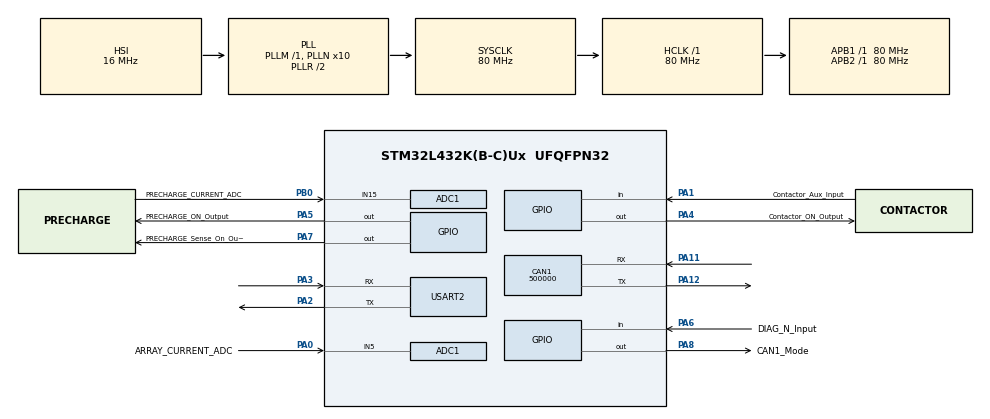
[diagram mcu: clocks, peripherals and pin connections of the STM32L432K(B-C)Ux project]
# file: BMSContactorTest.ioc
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ADC1.Channel-0\#ChannelRegularConversion=ADC_CHANNEL_5
ADC1.Channel-1\#ChannelRegularConversion=ADC_CHANNEL_15
ADC1.ContinuousConvMode=DISABLE
ADC1.DMAContinuousRequests=ENABLE
ADC1.EOCSelection=ADC_EOC_SEQ_CONV
ADC1.NbrOfConversion=2
ADC1.NbrOfConversionFlag=1
ADC1.OffsetNumber-0\#ChannelRegularConversion=ADC_OFFSET_NONE
ADC1.OffsetNumber-1\#ChannelRegularConversion=ADC_OFFSET_NONE
ADC1.Overrun=ADC_OVR_DATA_OVERWRITTEN
ADC1.Rank-0\#ChannelRegularConversion=1
ADC1.Rank-1\#ChannelRegularConversion=2
ADC1.SamplingTime-0\#ChannelRegularConversion=ADC_SAMPLETIME_2CYCLES_5
ADC1.SamplingTime-1\#ChannelRegularConversion=ADC_SAMPLETIME_2CYCLES_5
ADC1.master=1
CAN1.BS1=CAN_BS1_5TQ
CAN1.BS2=CAN_BS2_4TQ
CAN1.CalculateBaudRate=500000
CAN1.CalculateTimeBit=2000
CAN1.CalculateTimeQuantum=200.0
Dma.ADC1.0.Direction=DMA_PERIPH_TO_MEMORY
Dma.ADC1.0.Instance=DMA1_Channel1
Dma.ADC1.0.MemDataAlignment=DMA_MDATAALIGN_HALFWORD
Dma.ADC1.0.MemInc=DMA_MINC_ENABLE
Dma.ADC1.0.Mode=DMA_NORMAL
Dma.ADC1.0.PeriphDataAlignment=DMA_PDATAALIGN_HALFWORD
Dma.ADC1.0.PeriphInc=DMA_PINC_DISABLE
Dma.ADC1.0.Priority=DMA_PRIORITY_LOW
Dma.Request0=ADC1
Mcu.Family=STM32L4
Mcu.Name=STM32L432K(B-C)Ux
Mcu.Package=UFQFPN32
NVIC.PriorityGroup=NVIC_PRIORITYGROUP_4
NVIC.TIM1_UP_TIM16_IRQn=true\:5\:0\:true\:false\:true\:true\:true\:true
PA0.GPIO_Label=ARRAY_CURRENT_ADC
PA0.Signal=ADCx_IN5
PA1.GPIO_Label=Contactor_Aux_Input
PA1.Signal=GPIO_Input
PA11.Mode=CAN_Activate
PA11.Signal=CAN1_RX
PA12.Mode=CAN_Activate
PA12.Signal=CAN1_TX
PA2.Mode=Asynchronous
PA2.Signal=USART2_TX
PA3.Mode=Asynchronous
PA3.Signal=USART2_RX
PA4.GPIO_Label=Contactor_ON_Output
PA4.PinState=GPIO_PIN_RESET
PA4.Signal=GPIO_Output
PA5.GPIO_Label=PRECHARGE_ON_Output
PA5.PinState=GPIO_PIN_RESET
PA5.Signal=GPIO_Output
PA6.GPIO_Label=DIAG_N_Input
PA6.GPIO_PuPd=GPIO_PULLUP
PA6.Signal=GPIO_Input
PA7.GPIO_Label=PRECHARGE_Sense_On_Output
PA7.PinState=GPIO_PIN_RESET
PA7.Signal=GPIO_Output
PA8.GPIO_Label=CAN1_Mode
PA8.Signal=GPIO_Output
PB0.GPIO_Label=PRECHARGE_CURRENT_ADC
PB0.Signal=ADCx_IN15
ProjectManager.HeapSize=0x200
ProjectManager.StackSize=0x400
ProjectManager.TargetToolchain=STM32CubeIDE
RCC.ADCFreq_Value=64000000
RCC.AHBFreq_Value=80000000
RCC.APB1Freq_Value=80000000
RCC.APB1TimFreq_Value=80000000
RCC.APB2Freq_Value=80000000
RCC.APB2TimFreq_Value=80000000
RCC.CortexFreq_Value=80000000
RCC.HCLKFreq_Value=80000000
RCC.HSE_VALUE=8000000
RCC.HSI48_VALUE=48000000
RCC.HSI_VALUE=16000000
RCC.LSE_VALUE=32768
RCC.MSI_VALUE=4000000
RCC.PLLN=10
RCC.PLLSourceVirtual=RCC_PLLSOURCE_HSI
RCC.SYSCLKFreq_VALUE=80000000
RCC.SYSCLKSource=RCC_SYSCLKSOURCE_PLLCLK
RCC.USBFreq_Value=64000000
RCC.VCOOutputFreq_Value=160000000
SH.ADCx_IN15.0=ADC1_IN15,IN15-Single-Ended
SH.ADCx_IN5.0=ADC1_IN5,IN5-Single-Ended
TIM16.Period=199
TIM16.Prescaler=39999
TIM2.Period=4294967295
TIM2.Prescaler=79
USART2.VirtualMode-Asynchronous=VM_ASYNC
VP_TIM16_VS_ClockSourceINT.Mode=Enable_Timer
VP_TIM2_VS_ClockSourceINT.Mode=Internal
board=custom

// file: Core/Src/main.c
/* USER CODE BEGIN Header */
/**
  ******************************************************************************
  * @file           : main.c
  * @brief          : Main program body
  ******************************************************************************
  * @attention
  *
  * Copyright (c) 2025 STMicroelectronics.
  * All rights reserved.
  *
  * This software is licensed under terms that can be found in the LICENSE file
  * in the root directory of this software component.
  * If no LICENSE file comes with this software, it is provided AS-IS.
  *
  ******************************************************************************
  */
/* USER CODE END Header */
#include "main.h"

/* USER CODE BEGIN Includes */
#include "boardDefines.h"
#include "CAN.h"
#include "CONTACTOR.h"
#include "TIMER.h"
#include "ADC.h"
#include "stm32l4xx_ll_gpio.h"  // Include the LL GPIO header

/* USER CODE END Includes */

ADC_HandleTypeDef hadc1;
DMA_HandleTypeDef hdma_adc1;

CAN_HandleTypeDef hcan1;

TIM_HandleTypeDef htim2;
TIM_HandleTypeDef htim16;

UART_HandleTypeDef huart2;

void SystemClock_Config(void);
static void MX_GPIO_Init(void);
static void MX_DMA_Init(void);
static void MX_CAN1_Init(void);
static void MX_USART2_UART_Init(void);
static void MX_TIM16_Init(void);
static void MX_ADC1_Init(void);
static void MX_TIM2_Init(void);
/* USER CODE BEGIN PFP */
static void initBoardIds(void);
/* USER CODE END PFP */

/* USER CODE BEGIN 0 */
extern volatile Contactor_t contactor;
extern volatile Precharger_t precharger;

BoardIds boardIds = {.type = NONE, .canIdOffset = 0xFF, .extendedId = true};

/* USER CODE END 0 */

int main(void)
{

  /* MCU Configuration--------------------------------------------------------*/

  /* Reset of all peripherals, Initializes the Flash interface and the Systick. */
  HAL_Init();

  /* Configure the system clock */
  SystemClock_Config();

  /* Initialize all configured peripherals */
  MX_GPIO_Init();
  MX_DMA_Init();
  MX_CAN1_Init();
  MX_USART2_UART_Init();
  MX_TIM16_Init();
  MX_ADC1_Init();
  MX_TIM2_Init();
  /* USER CODE BEGIN 2 */

  AdcUserInit();
  initBoardIds();
  initContactor();

  checkState();
  HAL_Delay(2000);

  HAL_TIM_Base_Start_IT(&htim16);

  /* USER CODE END 2 */

  /* Infinite loop */
  while (1)
  {

    /* USER CODE BEGIN 3 */

    /* ADC task */
    AdcTask();

    Check_CAN_Messages();

    ContactorTask();
  }
  /* USER CODE END 3 */
}

void SystemClock_Config(void)
{
  RCC_OscInitTypeDef RCC_OscInitStruct = {0};
  RCC_ClkInitTypeDef RCC_ClkInitStruct = {0};

  /** Configure the main internal regulator output voltage
  */
  if (HAL_PWREx_ControlVoltageScaling(PWR_REGULATOR_VOLTAGE_SCALE1) != HAL_OK)
  {
    Error_Handler();
  }

  /** Initializes the RCC Oscillators according to the specified parameters
  * in the RCC_OscInitTypeDef structure.
  */
  RCC_OscInitStruct.OscillatorType = RCC_OSCILLATORTYPE_HSI;
  RCC_OscInitStruct.HSIState = RCC_HSI_ON;
  RCC_OscInitStruct.HSICalibrationValue = RCC_HSICALIBRATION_DEFAULT;
  RCC_OscInitStruct.PLL.PLLState = RCC_PLL_ON;
  RCC_OscInitStruct.PLL.PLLSource = RCC_PLLSOURCE_HSI;
  RCC_OscInitStruct.PLL.PLLM = 1;
  RCC_OscInitStruct.PLL.PLLN = 10;
  RCC_OscInitStruct.PLL.PLLP = RCC_PLLP_DIV7;
  RCC_OscInitStruct.PLL.PLLQ = RCC_PLLQ_DIV2;
  RCC_OscInitStruct.PLL.PLLR = RCC_PLLR_DIV2;
  if (HAL_RCC_OscConfig(&RCC_OscInitStruct) != HAL_OK)
  {
    Error_Handler();
  }

  /** Initializes the CPU, AHB and APB buses clocks
  */
  RCC_ClkInitStruct.ClockType = RCC_CLOCKTYPE_HCLK|RCC_CLOCKTYPE_SYSCLK
                              |RCC_CLOCKTYPE_PCLK1|RCC_CLOCKTYPE_PCLK2;
  RCC_ClkInitStruct.SYSCLKSource = RCC_SYSCLKSOURCE_PLLCLK;
  RCC_ClkInitStruct.AHBCLKDivider = RCC_SYSCLK_DIV1;
  RCC_ClkInitStruct.APB1CLKDivider = RCC_HCLK_DIV1;
  RCC_ClkInitStruct.APB2CLKDivider = RCC_HCLK_DIV1;

  if (HAL_RCC_ClockConfig(&RCC_ClkInitStruct, FLASH_LATENCY_4) != HAL_OK)
  {
    Error_Handler();
  }
}

static void MX_ADC1_Init(void)
{

  ADC_ChannelConfTypeDef sConfig = {0};

  /** Common config
  */
  hadc1.Instance = ADC1;
  hadc1.Init.ClockPrescaler = ADC_CLOCK_ASYNC_DIV1;
  hadc1.Init.Resolution = ADC_RESOLUTION_12B;
  hadc1.Init.DataAlign = ADC_DATAALIGN_RIGHT;
  hadc1.Init.ScanConvMode = ADC_SCAN_ENABLE;
  hadc1.Init.EOCSelection = ADC_EOC_SEQ_CONV;
  hadc1.Init.LowPowerAutoWait = DISABLE;
  hadc1.Init.ContinuousConvMode = DISABLE;
  hadc1.Init.NbrOfConversion = 2;
  hadc1.Init.DiscontinuousConvMode = DISABLE;
  hadc1.Init.ExternalTrigConv = ADC_SOFTWARE_START;
  hadc1.Init.ExternalTrigConvEdge = ADC_EXTERNALTRIGCONVEDGE_NONE;
  hadc1.Init.DMAContinuousRequests = ENABLE;
  hadc1.Init.Overrun = ADC_OVR_DATA_OVERWRITTEN;
  hadc1.Init.OversamplingMode = DISABLE;
  if (HAL_ADC_Init(&hadc1) != HAL_OK)
  {
    Error_Handler();
  }

  /** Configure Regular Channel
  */
  sConfig.Channel = ADC_CHANNEL_5;
  sConfig.Rank = ADC_REGULAR_RANK_1;
  sConfig.SamplingTime = ADC_SAMPLETIME_2CYCLES_5;
  sConfig.SingleDiff = ADC_SINGLE_ENDED;
  sConfig.OffsetNumber = ADC_OFFSET_NONE;
  sConfig.Offset = 0;
  if (HAL_ADC_ConfigChannel(&hadc1, &sConfig) != HAL_OK)
  {
    Error_Handler();
  }

  /** Configure Regular Channel
  */
  sConfig.Channel = ADC_CHANNEL_15;
  sConfig.Rank = ADC_REGULAR_RANK_2;
  if (HAL_ADC_ConfigChannel(&hadc1, &sConfig) != HAL_OK)
  {
    Error_Handler();
  }
  /* USER CODE BEGIN ADC1_Init 2 */

  HAL_ADCEx_Calibration_Start(&hadc1, ADC_SINGLE_ENDED);
  /* USER CODE END ADC1_Init 2 */

}

static void MX_CAN1_Init(void)
{

  /* USER CODE BEGIN CAN1_Init 0 */
  CAN_FilterTypeDef filterConfig_1;
  /* USER CODE END CAN1_Init 0 */

  hcan1.Instance = CAN1;
  hcan1.Init.Prescaler = 16;
  hcan1.Init.Mode = CAN_MODE_NORMAL;
  hcan1.Init.SyncJumpWidth = CAN_SJW_1TQ;
  hcan1.Init.TimeSeg1 = CAN_BS1_5TQ;
  hcan1.Init.TimeSeg2 = CAN_BS2_4TQ;
  hcan1.Init.TimeTriggeredMode = DISABLE;
  hcan1.Init.AutoBusOff = DISABLE;
  hcan1.Init.AutoWakeUp = DISABLE;
  hcan1.Init.AutoRetransmission = ENABLE;
  hcan1.Init.ReceiveFifoLocked = DISABLE;
  hcan1.Init.TransmitFifoPriority = DISABLE;
  if (HAL_CAN_Init(&hcan1) != HAL_OK)
  {
    Error_Handler();
  }
  /* USER CODE BEGIN CAN1_Init 2 */

  filterConfig_1.FilterBank = 0;                          // First filter bank
  filterConfig_1.FilterMode = CAN_FILTERMODE_IDMASK;      // Mask mode
  filterConfig_1.FilterScale = CAN_FILTERSCALE_32BIT;     // 32-bit scale
  //filterConfig_1.FilterIdHigh = 0x0000;				          // filter id is the part we want to mask and sets the IDE bit to true so we can accept extended IDs
  filterConfig_1.FilterIdHigh = (CONTACTOR_COMMAND_ID >> 13) & 0xffff;		// filter id is the part we want to mask and sets the IDE bit to true so we can accept extended IDs

  filterConfig_1.FilterIdLow = ((CONTACTOR_COMMAND_ID & 0x1fff) << 3) | (1 << 2);
  filterConfig_1.FilterMaskIdHigh = 0xffff;
  filterConfig_1.FilterMaskIdLow = 0xffff;
  filterConfig_1.FilterFIFOAssignment = CAN_FILTER_FIFO0; // Put accepted msgs in FIFO 0
  filterConfig_1.FilterActivation = ENABLE;               // Enable the filter
  if (HAL_CAN_ConfigFilter(&hcan1, &filterConfig_1) != HAL_OK) {
	  Error_Handler();
  }

  HAL_CAN_ActivateNotification(&hcan1, CAN_IT_RX_FIFO0_MSG_PENDING);

  HAL_CAN_Start(&hcan1);
  /* USER CODE END CAN1_Init 2 */

}

static void MX_TIM2_Init(void)
{

  TIM_ClockConfigTypeDef sClockSourceConfig = {0};
  TIM_MasterConfigTypeDef sMasterConfig = {0};

  htim2.Instance = TIM2;
  htim2.Init.Prescaler = 79;
  htim2.Init.CounterMode = TIM_COUNTERMODE_UP;
  htim2.Init.Period = 4294967295;
  htim2.Init.ClockDivision = TIM_CLOCKDIVISION_DIV1;
  htim2.Init.AutoReloadPreload = TIM_AUTORELOAD_PRELOAD_DISABLE;
  if (HAL_TIM_Base_Init(&htim2) != HAL_OK)
  {
    Error_Handler();
  }
  sClockSourceConfig.ClockSource = TIM_CLOCKSOURCE_INTERNAL;
  if (HAL_TIM_ConfigClockSource(&htim2, &sClockSourceConfig) != HAL_OK)
  {
    Error_Handler();
  }
  sMasterConfig.MasterOutputTrigger = TIM_TRGO_RESET;
  sMasterConfig.MasterSlaveMode = TIM_MASTERSLAVEMODE_DISABLE;
  if (HAL_TIMEx_MasterConfigSynchronization(&htim2, &sMasterConfig) != HAL_OK)
  {
    Error_Handler();
  }
  /* USER CODE BEGIN TIM2_Init 2 */
  HAL_TIM_Base_Start(&htim2);
  /* USER CODE END TIM2_Init 2 */

}

static void MX_TIM16_Init(void)
{

  htim16.Instance = TIM16;
  htim16.Init.Prescaler = 39999;
  htim16.Init.CounterMode = TIM_COUNTERMODE_UP;
  htim16.Init.Period = 199;
  htim16.Init.ClockDivision = TIM_CLOCKDIVISION_DIV1;
  htim16.Init.RepetitionCounter = 0;
  htim16.Init.AutoReloadPreload = TIM_AUTORELOAD_PRELOAD_DISABLE;
  if (HAL_TIM_Base_Init(&htim16) != HAL_OK)
  {
    Error_Handler();
  }

}

static void MX_USART2_UART_Init(void)
{

  huart2.Instance = USART2;
  huart2.Init.BaudRate = 115200;
  huart2.Init.WordLength = UART_WORDLENGTH_8B;
  huart2.Init.StopBits = UART_STOPBITS_1;
  huart2.Init.Parity = UART_PARITY_NONE;
  huart2.Init.Mode = UART_MODE_TX_RX;
  huart2.Init.HwFlowCtl = UART_HWCONTROL_NONE;
  huart2.Init.OverSampling = UART_OVERSAMPLING_16;
  huart2.Init.OneBitSampling = UART_ONE_BIT_SAMPLE_DISABLE;
  huart2.AdvancedInit.AdvFeatureInit = UART_ADVFEATURE_NO_INIT;
  if (HAL_UART_Init(&huart2) != HAL_OK)
  {
    Error_Handler();
  }

}

static void MX_DMA_Init(void)
{

  /* DMA controller clock enable */
  __HAL_RCC_DMA1_CLK_ENABLE();

}

static void MX_GPIO_Init(void)
{
  GPIO_InitTypeDef GPIO_InitStruct = {0};

  /* GPIO Ports Clock Enable */
  __HAL_RCC_GPIOA_CLK_ENABLE();
  __HAL_RCC_GPIOB_CLK_ENABLE();

  /*Configure GPIO pin Output Level */
  HAL_GPIO_WritePin(GPIOA, Contactor_ON_Output_Pin|PRECHARGE_ON_Output_Pin|PRECHARGE_Sense_On_Output_Pin|CAN1_Mode_Pin, GPIO_PIN_RESET);

  /*Configure GPIO pin : Contactor_Aux_Input_Pin */
  GPIO_InitStruct.Pin = Contactor_Aux_Input_Pin;
  GPIO_InitStruct.Mode = GPIO_MODE_INPUT;
  GPIO_InitStruct.Pull = GPIO_NOPULL;
  HAL_GPIO_Init(Contactor_Aux_Input_GPIO_Port, &GPIO_InitStruct);

  /*Configure GPIO pins : Contactor_ON_Output_Pin PRECHARGE_ON_Output_Pin PRECHARGE_Sense_On_Output_Pin CAN1_Mode_Pin */
  GPIO_InitStruct.Pin = Contactor_ON_Output_Pin|PRECHARGE_ON_Output_Pin|PRECHARGE_Sense_On_Output_Pin|CAN1_Mode_Pin;
  GPIO_InitStruct.Mode = GPIO_MODE_OUTPUT_PP;
  GPIO_InitStruct.Pull = GPIO_NOPULL;
  GPIO_InitStruct.Speed = GPIO_SPEED_FREQ_LOW;
  HAL_GPIO_Init(GPIOA, &GPIO_InitStruct);

  /*Configure GPIO pin : DIAG_N_Input_Pin */
  GPIO_InitStruct.Pin = DIAG_N_Input_Pin;
  GPIO_InitStruct.Mode = GPIO_MODE_INPUT;
  GPIO_InitStruct.Pull = GPIO_PULLUP;
  HAL_GPIO_Init(DIAG_N_Input_GPIO_Port, &GPIO_InitStruct);

  /* USER CODE BEGIN MX_GPIO_Init_2 */
#if PRECHARGER_DEBUG
  HAL_GPIO_WritePin(PRECHARGE_ON_Output_GPIO_Port, PRECHARGE_ON_Output_Pin, GPIO_PIN_RESET);
  HAL_GPIO_WritePin(PRECHARGE_Sense_On_Output_GPIO_Port, PRECHARGE_Sense_On_Output_Pin, GPIO_PIN_SET);
#endif
  /* USER CODE END MX_GPIO_Init_2 */
}

/* USER CODE BEGIN 4 */

#define BOARD_TYPE_FLASH_ADDRESS 0x0803F800 /* Page 127, NEVER PUT ANY CODE HERE */
static void initBoardIds(void)
{
  uint8_t noBoardTypeMsg[] = "INVALID BOARD TYPE FOUND IN FLASH, PLEASE LOAD A VALID BOARD TYPE ONTO 0x0803F800 WITH STM32CUBEPROGRAMMER\0";
  uint32_t* typeFlashAddress = (uint32_t*)BOARD_TYPE_FLASH_ADDRESS;

  boardIds.type = (Contactor_Type)(*typeFlashAddress);

  if(boardIds.type >= CONTACTOR_TYPE_NUM)
  {
    while(1)
    {
      HAL_UART_Transmit(&huart2, noBoardTypeMsg, strlen((char *)noBoardTypeMsg), HAL_MAX_DELAY);
    }
  }

  boardIds.canIdOffset = boardIds.type;

  boardIds.extendedId = true; /* use extended Id, TBD */
}

/* USER CODE END 4 */

void Error_Handler(void)
{
  __disable_irq();
  while (1)
  {
  }
}
